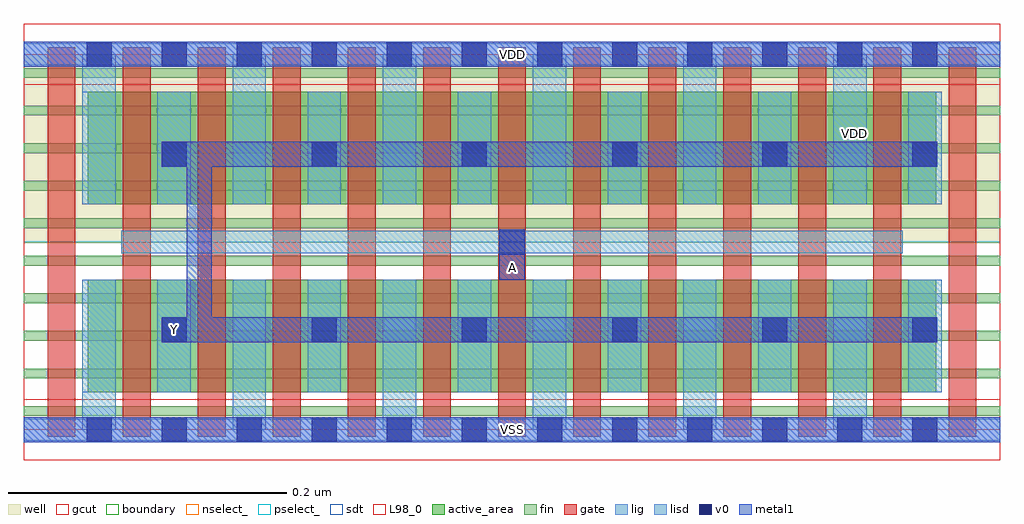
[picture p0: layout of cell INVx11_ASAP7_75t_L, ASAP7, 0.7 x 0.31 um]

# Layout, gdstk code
import gdstk
lib = gdstk.Library(unit=1e-6, precision=2.5e-10)
def R(c, l, rs):  # rectangles x0, y0, x1, y1
    for r in rs: c.add(gdstk.rectangle(r[:2], r[2:], *l))
def A(c, l, x, y, w, h, nx, ny, dx, dy):  # array of equal rectangles
    R(c, l, [(x+i*dx, y+j*dy, x+i*dx+w, y+j*dy+h) for i in range(nx) for j in range(ny)])
def P(c, l, *ps):  # polygons
    for p in ps: c.add(gdstk.Polygon(p, *l))
well = (1, 0)
fin = (2, 0)
gate = (7, 0)
gcut = (10, 0)
active_area = (11, 0)
nselect_ = (12, 0)
pselect_ = (13, 0)
lig = (16, 0)
lisd = (17, 0)
v0 = (18, 0)
metal1 = (19, 0)
sdt = (88, 0)
L98_0 = (98, 0)
boundary = (100, 0)

invx11_asap7_75t_l = lib.new_cell('INVx11_ASAP7_75t_L')
R(invx11_asap7_75t_l, well, [(0,0.135,0.702,0.27)])
A(invx11_asap7_75t_l, fin, 0, 0.01, 0.702, 0.007, 1, 10, 0, 0.027)
A(invx11_asap7_75t_l, gate, 0.017, -0.005, 0.02, 0.28, 13, 1, 0.054, 0)
R(invx11_asap7_75t_l, gcut, [(0,-0.022,0.702,0.022), (0,0.248,0.702,0.292)])
R(invx11_asap7_75t_l, active_area, [(0.046,0.027,0.656,0.108), (0.046,0.162,0.656,0.243)])
R(invx11_asap7_75t_l, nselect_, [(0,0,0.702,0.135)])
R(invx11_asap7_75t_l, pselect_, [(0,0.135,0.702,0.27)])
R(invx11_asap7_75t_l, lig, [(0,-0.008,0.702,0.008), (0.07,0.127,0.632,0.143), (0,0.262,0.702,0.278)])
A(invx11_asap7_75t_l, lisd, 0.042, 0, 0.024, 0.108, 6, 2, 0.108, 0.162)
A(invx11_asap7_75t_l, lisd, 0.096, 0.027, 0.024, 0.081, 6, 2, 0.108, 0.135)
A(invx11_asap7_75t_l, v0, 0.045, -0.009, 0.018, 0.018, 12, 2, 0.054, 0.27)
A(invx11_asap7_75t_l, v0, 0.099, 0.063, 0.018, 0.018, 6, 2, 0.108, 0.126)
R(invx11_asap7_75t_l, v0, [(0.342,0.126,0.36,0.144)])
R(invx11_asap7_75t_l, metal1, [(0,-0.009,0.702,0.009), (0.342,0.108,0.36,0.144), (0,0.261,0.702,0.279)])
P(invx11_asap7_75t_l, metal1, [(0.657,0.207),(0.099,0.207),(0.099,0.189),(0.117,0.189),(0.117,0.081),(0.099,0.081),(0.099,0.063),(0.657,0.063),(0.657,0.081),(0.135,0.081),(0.135,0.189),(0.657,0.189)])
A(invx11_asap7_75t_l, sdt, 0.042, 0.027, 0.024, 0.081, 12, 2, 0.054, 0.135)
R(invx11_asap7_75t_l, L98_0, [(0,0,0.702,0.27)])
R(invx11_asap7_75t_l, boundary, [(0,0,0.702,0.27)])
invx11_asap7_75t_l.add(gdstk.Label('A', (0.351,0.117), layer=19, texttype=251))
invx11_asap7_75t_l.add(gdstk.Label('Y', (0.108,0.072), layer=19, texttype=251))
invx11_asap7_75t_l.add(gdstk.Label('VSS', (0.351,0), layer=19, texttype=251))
invx11_asap7_75t_l.add(gdstk.Label('VDD', (0.351,0.27), layer=19, texttype=251))
invx11_asap7_75t_l.add(gdstk.Label('VDD', (0.597,0.213), layer=1, texttype=251))
invx11_asap7_75t_l.add(gdstk.Label('VSS', (0.807,0.213), layer=3, texttype=251))

lib.write_gds('INVx11_ASAP7_75t_L.gds')
